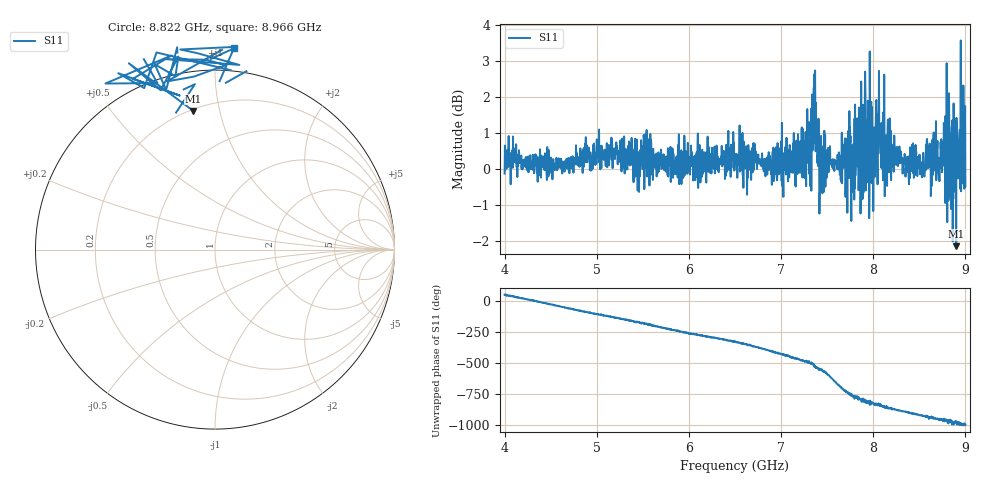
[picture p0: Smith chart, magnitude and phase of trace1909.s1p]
! Created with skrf 1.8.0 (http://scikit-rf.org).
# Hz S RI R 50.0
!freq ReS11 ImS11
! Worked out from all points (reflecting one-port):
!   1601 points, 4 GHz to 9 GHz, reference 50 ohm
!   lowest |S11| = -2.1 dB at 8.9 GHz (marker M1), VSWR 8.15, Z = 10.5 + j41.7 ohm
!   phase of S11 starts at 52 deg and turns -1048 deg over the sweep
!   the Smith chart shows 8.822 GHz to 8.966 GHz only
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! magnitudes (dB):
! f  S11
! 4 GHz  -0.1
! 4.028 GHz  0.5
! 4.625 GHz  -0.1
! 5.25 GHz  0.2
! 5.875 GHz  0.2
! 6.5 GHz  0.2
! 7.125 GHz  0.5
! 7.325 GHz  1.7
! 7.362 GHz  1.9
! 7.4 GHz  0.1
! 7.441 GHz  0.3
! 7.453 GHz  0.0
! 7.75 GHz  0.7
! 7.784 GHz  0.0
! 7.822 GHz  0.5
! 7.881 GHz  0.2
! 7.891 GHz  0.2
! 7.962 GHz  3.3
! 7.997 GHz  0.8
! 8.053 GHz  1.1
! 8.375 GHz  0.1
! 8.597 GHz  0.0
! 8.725 GHz  0.3
! 8.816 GHz  -0.9
! 8.875 GHz  1.0
! 8.9 GHz  -2.1
! 8.972 GHz  1.2
! 9 GHz  -0.5
